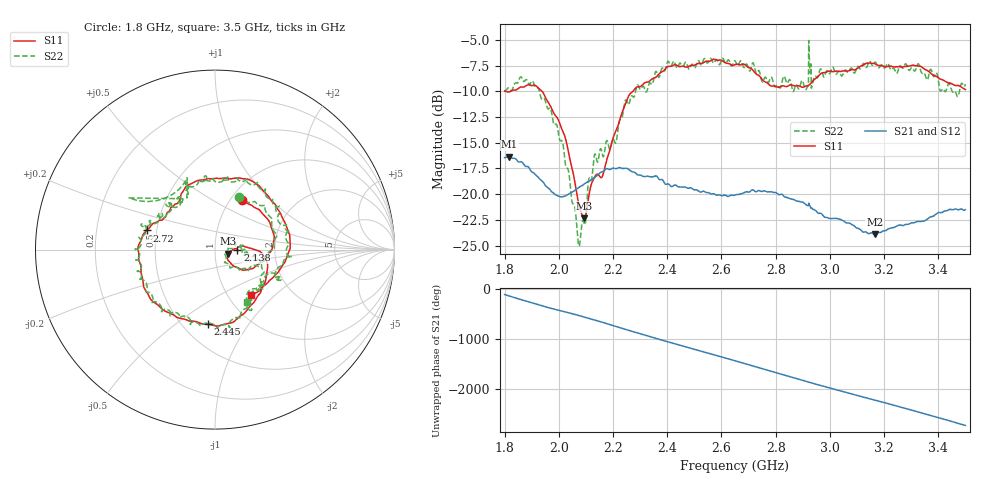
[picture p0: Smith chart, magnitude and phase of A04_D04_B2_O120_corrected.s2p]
! Created with skrf 1.9.0 (http://scikit-rf.org).
# Hz S RI R 50.0
!freq ReS11 ImS11 ReS21 ImS21 ReS12 ImS12 ReS22 ImS22
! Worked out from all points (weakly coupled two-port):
!   1601 points, 1.8 GHz to 3.5 GHz, reference 50 ohm
!   highest |S21| = -16.37 dB at 1.817 GHz (marker M1); lowest = -23.9 dB at 3.165 GHz (marker M2)
!   lowest |S11| = -22.4 dB at 2.093 GHz (marker M3), VSWR 1.17, Z = 57.8 - j2.61 ohm
!   |S11| at or under -10 dB: 1.802 GHz to 1.822 GHz (20.4 MHz wide, 1.13 % of centre); 1.938 GHz to 2.273 GHz (335.2 MHz wide, 15.9 % of centre)
!   |S22| runs from -25.1 to -5.1 dB; largest |S21 - S12| = 0.0025
!   S11 on the Smith chart (normalised r, x): 1.8 GHz: 1.13, +0.70; 2.138 GHz: 1.28, -0.00; 2.445 GHz: 0.66, -0.66; 2.72 GHz: 0.44, +0.11; 3.5 GHz: 1.27, -0.72
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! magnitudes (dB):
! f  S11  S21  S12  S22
! 1.8 GHz  -10.0  -16.4  -16.4  -9.9
! 1.817 GHz  -10.1  -16.4  -16.4  -9.7
! 1.903 GHz  -9.4  -17.9  -17.9  -9.0
! 1.968 GHz  -11.4  -19.6  -19.6  -11.6
! 2.023 GHz  -14.5  -20.2  -20.2  -16.9
! 2.072 GHz  -20.7  -19.4  -19.4  -24.8
! 2.084 GHz  -21.8  -19.2  -19.1  -23.2
! 2.093 GHz  -22.4  -19.0  -19.1  -22.8
! 2.138 GHz  -18.1  -18.3  -18.3  -16.4
! 2.162 GHz  -18.2  -17.8  -17.7  -16.3
! 2.209 GHz  -13.9  -17.5  -17.5  -15.1
! 2.26 GHz  -10.3  -17.6  -17.6  -11.1
! 2.367 GHz  -8.4  -18.5  -18.4  -8.6
! 2.445 GHz  -7.6  -19.3  -19.3  -7.3
! 2.65 GHz  -7.4  -20.1  -20.0  -7.0
! 2.72 GHz  -8.1  -19.6  -19.5  -7.4
! 2.809 GHz  -9.6  -20.0  -19.9  -9.4
! 2.934 GHz  -9.1  -21.4  -21.3  -9.5
! 3.165 GHz  -7.3  -23.9  -23.9  -7.2
! 3.217 GHz  -7.6  -23.4  -23.3  -7.4
! 3.468 GHz  -9.4  -21.5  -21.4  -10.4
! 3.5 GHz  -9.8  -21.5  -21.5  -9.3
